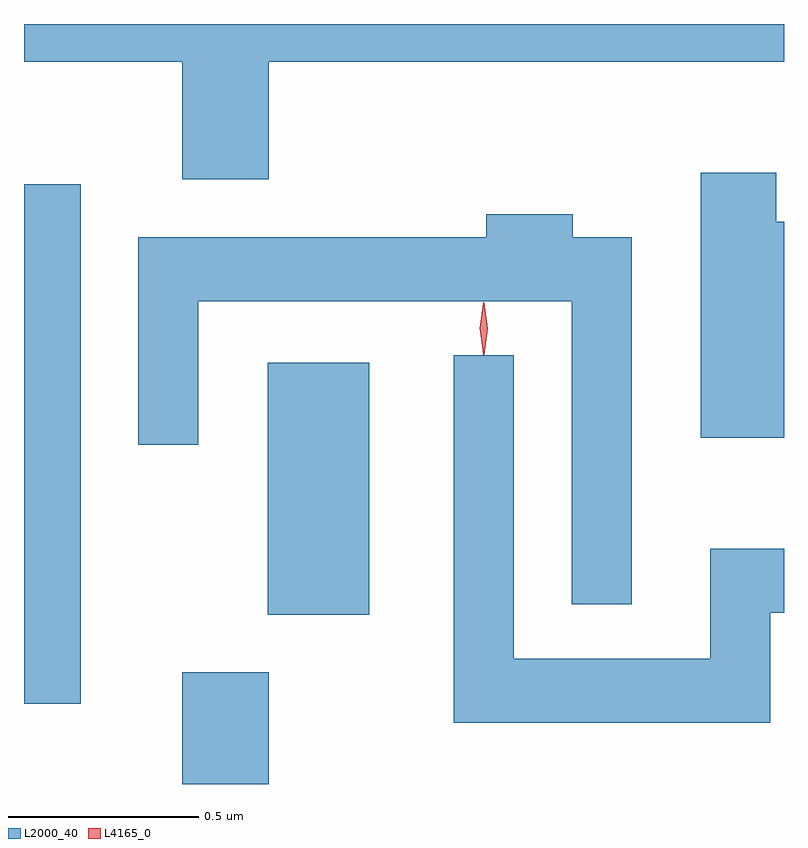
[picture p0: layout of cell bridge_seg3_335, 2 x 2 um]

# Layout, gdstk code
import gdstk
lib = gdstk.Library(unit=1e-6, precision=1e-09)
def R(c, l, rs):  # rectangles x0, y0, x1, y1
    for r in rs: c.add(gdstk.rectangle(r[:2], r[2:], *l))
def P(c, l, *ps):  # polygons
    for p in ps: c.add(gdstk.Polygon(p, *l))
L2000_40 = (2000, 40)
L4165_0 = (4165, 0)

bridge_seg3_335 = lib.new_cell('bridge_seg3_335')
R(bridge_seg3_335, L2000_40, [(578.381,1195.155,578.609,1195.449), (577.965,1195.366,578.114,1196.733), (578.606,1195.601,578.874,1196.264)])
P(bridge_seg3_335, L2000_40, [(578.609,1197.056),(579.965,1197.056),(579.965,1197.155),(577.965,1197.155),(577.965,1197.056),(578.381,1197.056),(578.381,1196.746),(578.609,1196.746)],
  [(579.965,1196.634),(579.944,1196.634),(579.944,1196.764),(579.746,1196.764),(579.746,1196.066),(579.965,1196.066)],
  [(579.564,1196.594),(579.409,1196.594),(579.409,1196.654),(579.181,1196.654),(579.181,1196.594),(578.266,1196.594),(578.266,1196.048),(578.424,1196.048),(578.424,1196.426),(579.406,1196.426),(579.406,1195.628),(579.564,1195.628)],
  [(579.929,1195.606),(579.965,1195.606),(579.965,1195.774),(579.771,1195.774),(579.771,1195.484),(579.254,1195.484),(579.254,1196.283),(579.096,1196.283),(579.096,1195.316),(579.929,1195.316)])
P(bridge_seg3_335, L4165_0, [(579.174,1196.284),(579.165,1196.353),(579.174,1196.422),(579.175,1196.423),(579.176,1196.422),(579.185,1196.353),(579.176,1196.284),(579.175,1196.284)],
  [(579.174,1196.287),(579.173,1196.288),(579.164,1196.354),(579.173,1196.42),(579.174,1196.42),(579.174,1196.42),(579.184,1196.354),(579.174,1196.288)])

lib.write_gds('bridge_seg3_335.gds')
